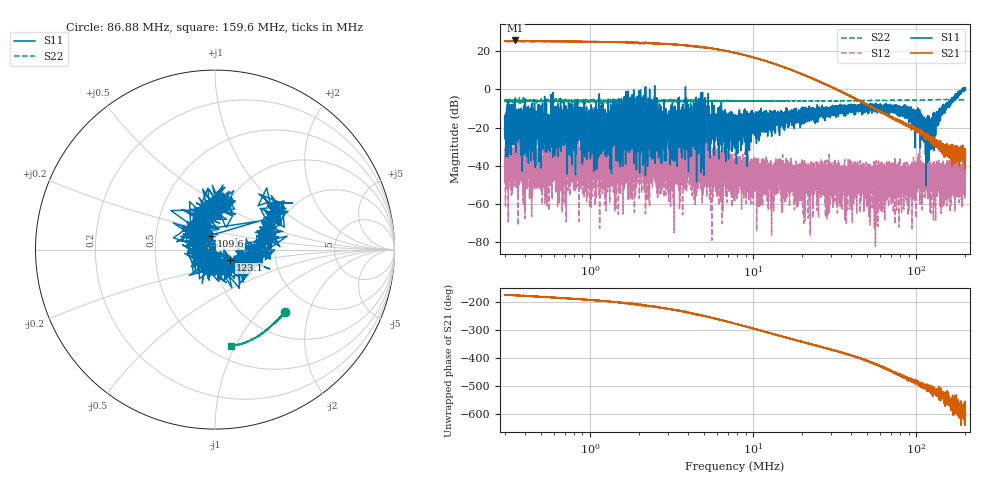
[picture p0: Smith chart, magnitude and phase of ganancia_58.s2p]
# Hz S DB R 50
! CMT, M5065, 19127446, 24.2.4/2
! Date: 11/1/2024 3:48:43 PM
! Data: Format (Calibration Info)
! Freq	S11:dB/Ang(F2)	S21:dB/Ang(F2)	S12:dB/Ang(F2)	S22:dB/Ang(F2)
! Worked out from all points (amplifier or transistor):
!   9000 points, 300 kHz to 200 MHz, reference 50 ohm
!   highest |S21| = 25.7 dB at 348.9 kHz (marker M1)
!   |S21| within 3 dB of that: start of sweep to 4.281 MHz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
!   unconditionally stable (mu >= 1): 5.8 MHz to 190.7 MHz; 191.2 MHz to 192.2 MHz; 192.4536 MHz to 193.1194 MHz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
!   at 886.8 kHz: K = 2.91, MAG = 26.4 dB, |S12| = -42.6 dB
!   at 7.749 MHz: K = 9.31, MAG = 20.7 dB, |S12| = -47.5 dB
!   at 200 MHz: K = -215.77, MSG = 3.0 dB, |S12| = -39.9 dB
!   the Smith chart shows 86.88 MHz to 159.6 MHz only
!   S11 on the Smith chart (normalised r, x): 86.88 MHz: 0.97, +0.53; 109.6 MHz: 0.95, +0.14; 123.1 MHz: 1.17, -0.14; 159.6 MHz: 1.62, +0.93
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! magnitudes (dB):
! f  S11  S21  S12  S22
! 300 kHz  -14.6  25.4  -38.9  -5.9
! 312.4 kHz  -18.0  25.3  -42.9  -5.9
! 348.9 kHz  -4.5  25.7  -33.2  -5.7
! 886.8 kHz  -19.6  25.2  -42.6  -6.1
! 1.188 MHz  -11.1  25.1  -35.3  -6.3
! 1.269 MHz  -22.7  24.9  -38.3  -5.8
! 1.366 MHz  -30.2  24.9  -35.4  -5.7
! 1.541 MHz  -20.9  24.8  -39.7  -6.1
! 2.146 MHz  -19.3  24.4  -52.0  -6.0
! 2.621 MHz  -31.9  24.1  -44.5  -5.9
! 3.655 MHz  -18.9  23.2  -40.5  -5.8
! 3.917 MHz  -20.9  23.0  -34.4  -6.3
! 6.853 MHz  -19.4  20.1  -39.8  -5.9
! 7.749 MHz  -16.0  19.3  -47.5  -5.9
! 22.91 MHz  -9.8  6.0  -41.8  -6.0
! 67.71 MHz  -12.0  -13.6  -51.1  -5.7
! 86.88 MHz  -11.8  -18.2  -41.6  -5.7
! 109.6 MHz  -22.1  -23.8  -43.0  -5.6
! 123.1 MHz  -19.9  -26.7  -49.6  -5.5
! 159.6 MHz  -7.9  -30.1  -38.8  -5.3
! 193.3 MHz  0.2  -34.9  -46.3  -5.4
! 200 MHz  0.5  -33.8  -39.9  -5.4
